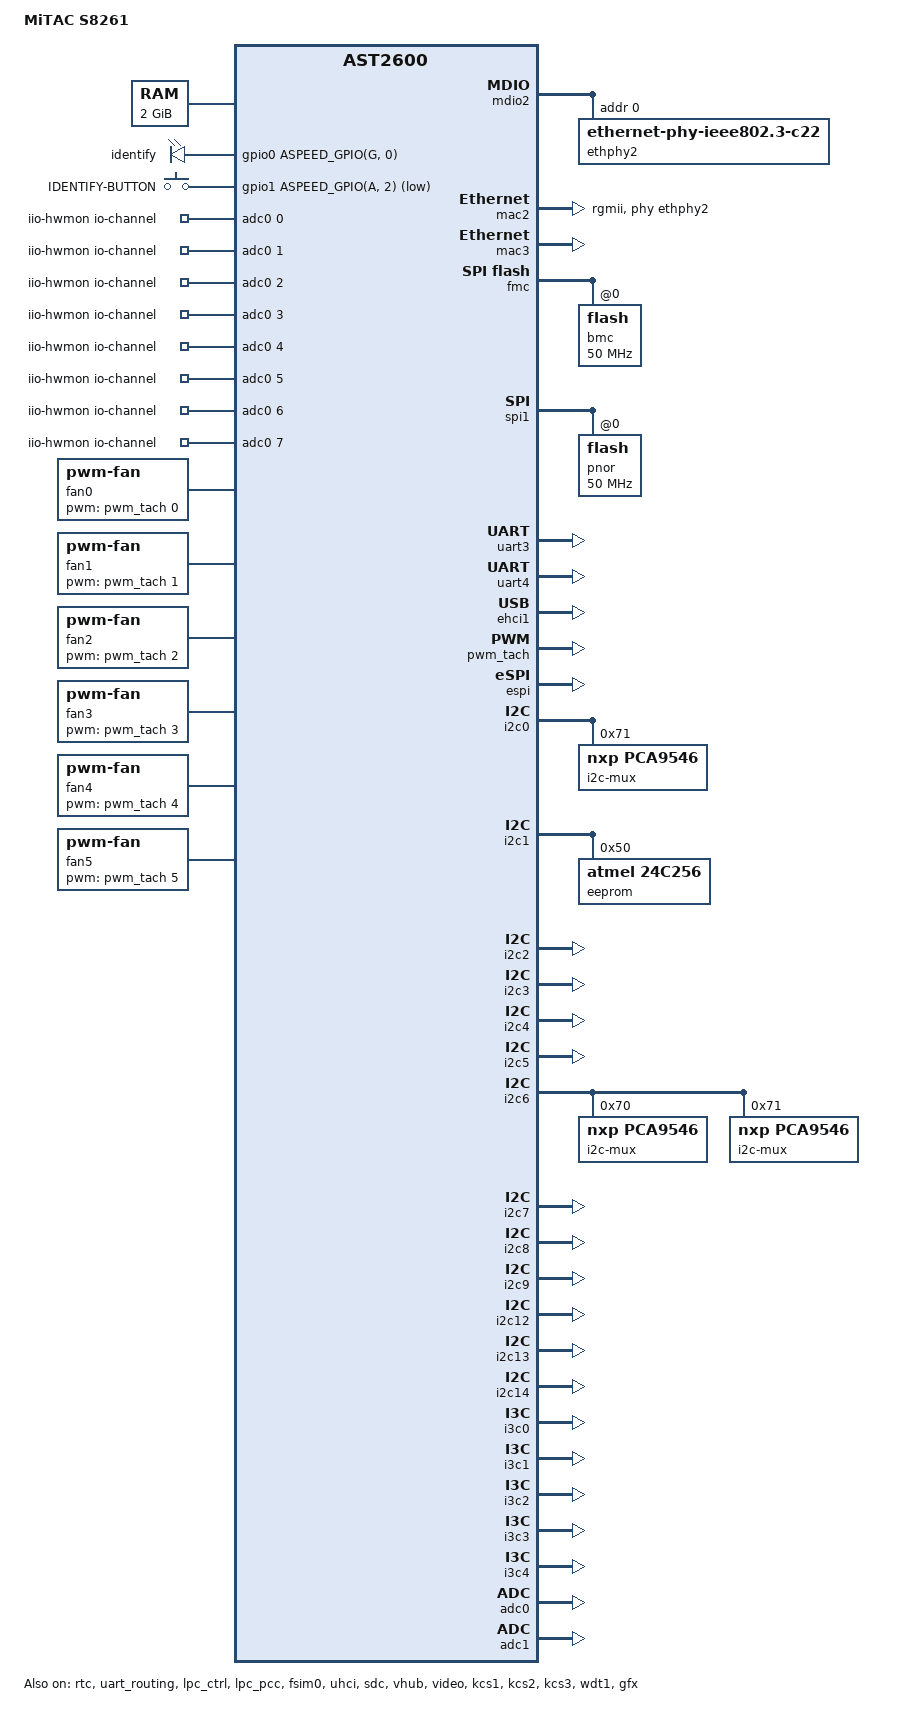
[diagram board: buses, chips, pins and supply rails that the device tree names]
// SPDX-License-Identifier: GPL-2.0-or-later
// Copyright 2019 IBM Corp.

/dts-v1/;

#include "aspeed-g6.dtsi"
#include <dt-bindings/gpio/aspeed-gpio.h>

/ {
	model = "MiTAC S8261";
	compatible = "aspeed,ast2600-evb", "aspeed,ast2600";

	aliases {
		serial4 = &uart5;
	};

	chosen {
		bootargs = "console=ttyS4,115200n8";
	};

	memory@80000000 {
		device_type = "memory";
		reg = <0x80000000 0x80000000>;
	};

	reserved-memory {
		#address-cells = <1>;
		#size-cells = <1>;
		ranges;

		video_engine_memory: video {
			size = <0x04000000>;
			alignment = <0x01000000>;
			compatible = "shared-dma-pool";
			reusable;
		};

		gfx_memory: framebuffer {
			size = <0x01000000>;
			alignment = <0x01000000>;
			compatible = "shared-dma-pool";
			reusable;
		};

		pcc_memory: pccbuffer {
                       no-map;
                       reg = <0xE0000000 0x00001000>; /* 4K */
               };
	};

        leds {
                compatible = "gpio-leds";

		/*
                bmc_heartbeat {
                        gpios = <&gpio0 ASPEED_GPIO(G, 4) GPIO_ACTIVE_LOW>;
                        default-state = "on";
                };
		*/
                identify {
                        gpios = <&gpio0 ASPEED_GPIO(G, 0) GPIO_ACTIVE_HIGH>;
                        default-state = "off";
                };
        };

        gpio-keys {
                compatible = "gpio-keys";
                event-identify-button {
                        label = "IDENTIFY-BUTTON";
                        gpios = <&gpio1 ASPEED_GPIO(A, 2) GPIO_ACTIVE_LOW>;
                        linux,code = <ASPEED_GPIO(A, 2)>;
                };
        };

        iio-hwmon {
                compatible = "iio-hwmon";
                io-channels = <&adc0 0>, <&adc0 1>, <&adc0 2>, <&adc0 3>,
                        <&adc0 4>, <&adc0 5>, <&adc0 6>, <&adc0 7>,
                        <&adc1 0>, <&adc1 1>, <&adc1 2>, <&adc1 3>,
                        <&adc1 4>, <&adc1 5>, <&adc1 6>, <&adc1 7>;
        };

        fan0: pwm-fan0 {
                compatible = "pwm-fan";
                pwms = <&pwm_tach 0 40000 0>;   /* Target freq:25 kHz */
                cooling-min-state = <0>;
                cooling-max-state = <3>;
                #cooling-cells = <2>;
                cooling-levels = <0 15 128 255>;
        };

        fan1: pwm-fan1 {
                compatible = "pwm-fan";
                pwms = <&pwm_tach 1 40000 0>;   /* Target freq:25 kHz */
                cooling-min-state = <0>;
                cooling-max-state = <3>;
                #cooling-cells = <2>;
                cooling-levels = <0 15 128 255>;
        };

        fan2: pwm-fan2 {
                compatible = "pwm-fan";
                pwms = <&pwm_tach 2 40000 0>;   /* Target freq:25 kHz */
                cooling-min-state = <0>;
                cooling-max-state = <3>;
                #cooling-cells = <2>;
                cooling-levels = <0 15 128 255>;
        };

        fan3: pwm-fan3 {
                compatible = "pwm-fan";
                pwms = <&pwm_tach 3 40000 0>;   /* Target freq:25 kHz */
                cooling-min-state = <0>;
                cooling-max-state = <3>;
                #cooling-cells = <2>;
                cooling-levels = <0 15 128 255>;
        };

        fan4: pwm-fan4 {
                compatible = "pwm-fan";
                pwms = <&pwm_tach 4 40000 0>;   /* Target freq:25 kHz */
                cooling-min-state = <0>;
                cooling-max-state = <3>;
                #cooling-cells = <2>;
                cooling-levels = <0 15 128 255>;
        };

        fan5: pwm-fan5 {
                compatible = "pwm-fan";
                pwms = <&pwm_tach 5 40000 0>;   /* Target freq:25 kHz */
                cooling-min-state = <0>;
                cooling-max-state = <3>;
                #cooling-cells = <2>;
                cooling-levels = <0 15 128 255>;
        };
};

&mdio2 {
	status = "okay";

	ethphy2: ethernet-phy@2 {
		compatible = "ethernet-phy-ieee802.3-c22";
		reg = <0>;
	};
};

&mac2 {
	status = "okay";

	phy-mode = "rgmii";
	phy-handle = <&ethphy2>;

	pinctrl-names = "default";
	pinctrl-0 = <&pinctrl_rgmii3_default>;
};

&mac3 {
        status = "okay";
        pinctrl-names = "default";
        pinctrl-0 = <&pinctrl_rmii4_default>;
	clock-names = "MACCLK", "RCLK";
        use-ncsi;
};


&rtc {
	status = "okay";
};

&fmc {
	status = "okay";
	flash@0 {
		status = "okay";
		m25p,fast-read;
		label = "bmc";
		spi-rx-bus-width = <4>;
		spi-max-frequency = <50000000>;
#include "openbmc-flash-layout-64.dtsi"
	};
};

&spi1 {
	status = "okay";
	pinctrl-names = "default";
	pinctrl-0 = <&pinctrl_spi1_default>;

	flash@0 {
		status = "okay";
		m25p,fast-read;
		label = "pnor";
		spi-rx-bus-width = <1>;
		spi-max-frequency = <50000000>;
	};
};

&uart3 {
        status = "okay";
};

&uart4 {
        status = "okay";
};

&uart5 {
	// Workaround for A0
	compatible = "snps,dw-apb-uart";
};

&uart_routing {
        status = "okay";
};

/*
&lpc_snoop {
	status = "okay";
	snoop-ports = <0x80>;
};
*/

&lpc_ctrl {
	status = "okay";
};

&lpc_pcc {
        port-addr = <0x80>;
        dma-mode;
	// It is required to be 4 bytes mode when A2600-15 is activated.
        A2600-15;
        memory-region = <&pcc_memory>;
        rec-mode = <0x1>;
        port-addr-hbits-select = <0x1>;
        port-addr-xbits = <0x3>;

        status = "okay";
};

&fsim0 {
	status = "okay";
};

&ehci1 {
	status = "okay";
};

&uhci {
	status = "okay";
};

&sdc {
	status = "okay";
};

&vhub {
	status = "okay";
	pinctrl-names = "default";
        pinctrl-0 = <&pinctrl_usb2ad_default>;
};

&video {
	status = "okay";
	memory-region = <&video_engine_memory>;
};

&kcs1 {
        kcs-io-addr = <0xca0>;
	kcs-channel = <1>;
        status = "okay";
};

&kcs2 {
        kcs-io-addr = <0xca8>;
	kcs-channel = <2>;
        status = "okay";
};

&kcs3 {
        kcs-io-addr = <0xca2>;
	kcs-channel = <3>;
        status = "okay";
};

&wdt1 {
        status = "okay";
        pinctrl-names = "default";
        pinctrl-0 = <&pinctrl_wdtrst1_default>;
        aspeed,reset-type = "soc";
        aspeed,external-signal;
        aspeed,ext-push-pull;
        aspeed,ext-active-high;
        aspeed,ext-pulse-duration = <256>;
};

/*
&wdt2 {
        status = "okay";
        pinctrl-names = "default";
        pinctrl-0 = <&pinctrl_wdtrst2_default>;
        aspeed,reset-type = "system";
};
*/

&pwm_tach {
        status = "okay";
        pinctrl-names = "default";
        pinctrl-0 = <&pinctrl_pwm0_default &pinctrl_pwm1_default
                     &pinctrl_pwm2_default &pinctrl_pwm3_default
                     &pinctrl_pwm4_default &pinctrl_pwm5_default
                     &pinctrl_pwm6_default &pinctrl_pwm7_default
                     &pinctrl_tach0_default &pinctrl_tach1_default
                     &pinctrl_tach2_default &pinctrl_tach3_default
                     &pinctrl_tach4_default &pinctrl_tach5_default
                     &pinctrl_tach6_default &pinctrl_tach7_default
                     &pinctrl_tach8_default &pinctrl_tach9_default
                     &pinctrl_tach10_default &pinctrl_tach11_default
                     &pinctrl_tach12_default &pinctrl_tach13_default
                    >;

        fan@0 {
                tach-ch = /bits/ 8 <0x00>;
        };
        fan@1 {
                tach-ch = /bits/ 8 <0x01>;
        };
        fan@2 {
                tach-ch = /bits/ 8 <0x02>;
        };
        fan@3 {
                tach-ch = /bits/ 8 <0x03>;
        };
        fan@4 {
                tach-ch = /bits/ 8 <0x04>;
        };
        fan@5 {
                tach-ch = /bits/ 8 <0x05>;
        };
        fan@6 {
                tach-ch = /bits/ 8 <0x06>;
        };
        fan@7 {
                tach-ch = /bits/ 8 <0x07>;
        };
        fan@8 {
                tach-ch = /bits/ 8 <0x08>;
        };
        fan@9 {
                tach-ch = /bits/ 8 <0x09>;
        };
        fan@10 {
                tach-ch = /bits/ 8 <0x0A>;
        };
        fan@11 {
                tach-ch = /bits/ 8 <0x0B>;
        };
        fan@12 {
                tach-ch = /bits/ 8 <0x0C>;
        };
};

&mbox {
        status = "okay";
};

&espi {
        status = "okay";
        perif-dma-mode;
        oob-dma-mode;
        flash-dma-mode;
};

&i2c0 {
	status = "okay";
	i2c-mux@71 {
		compatible = "nxp,pca9546";
		reg = <0x71>;
		#address-cells = <1>;
		#size-cells = <0>;
		i2c-mux-idle-disconnect;

		HP0: i2c@0 {
			#address-cells = <1>;
			#size-cells = <0>;
			reg = <0>;
		};

		HP0_2: i2c@1 {
			#address-cells = <1>;
			#size-cells = <0>;
			reg = <1>;
		};

		FW_BPCPLD_2: i2c@2 {
			#address-cells = <1>;
			#size-cells = <0>;
			reg = <2>;
		};

		RE_R_3: i2c@3 {
			#address-cells = <1>;
			#size-cells = <0>;
			reg = <3>;
		};
	};
};

&i2c1 {
	status = "okay";
	// MB FRU
	eeprom@50 {
		compatible = "atmel,24c256";
		reg = <0x50>;
	};

};
&i2c2 {
	status = "okay";
};
&i2c3 {
	status = "okay";
};
&i2c4 {
	status = "okay";
};
&i2c5 {
	status = "okay";
};
&i2c6 {
	status = "okay";
	i2c-mux@70 {
		compatible = "nxp,pca9546";
		reg = <0x70>;
		#address-cells = <1>;
		#size-cells = <0>;
		i2c-mux-idle-disconnect;

		SMB_PCIE_3V3SB_HHHL1: i2c@0 {
			#address-cells = <1>;
			#size-cells = <0>;
			reg = <0>;
		};

		SMB_PCIE_3V3SB_HHHL2: i2c@1 {
			#address-cells = <1>;
			#size-cells = <0>;
			reg = <1>;
		};

		IOB_X550: i2c@2 {
			#address-cells = <1>;
			#size-cells = <0>;
			reg = <2>;
		};

		IOB_RTM: i2c@3 {
			#address-cells = <1>;
			#size-cells = <0>;
			reg = <3>;
		};
	};
	i2c-mux@71 {
		compatible = "nxp,pca9546";
		reg = <0x71>;
		#address-cells = <1>;
		#size-cells = <0>;
		i2c-mux-idle-disconnect;

		SMB_PCIE_STBY_LVC3_L32: i2c@0 {
			#address-cells = <1>;
			#size-cells = <0>;
			reg = <0>;
		};

		SMB_BMC7_MUX1_PCIEX16_SLOT2: i2c@1 {
			#address-cells = <1>;
			#size-cells = <0>;
			reg = <1>;
		};

		SMB_PCIE_STBY_LVC3_R32: i2c@2 {
			#address-cells = <1>;
			#size-cells = <0>;
			reg = <2>;
		};

		SMB_BMC7_MUX1_PCIEX16_SLOT8: i2c@3 {
			#address-cells = <1>;
			#size-cells = <0>;
			reg = <3>;
		};
	};
};
&i2c7 {
	status = "okay";
};
&i2c8 {
	status = "okay";
};
&i2c9 {
	status = "okay";
};

/* M24 MDC3
&i2c10 {
	status = "okay";
};
*/

&i2c12 {
	status = "okay";
};
&i2c13 {
	status = "okay";
};
&i2c14 {
	status = "okay";
};

&i3c0 {
        status = "okay";
};

&i3c1 {
        status = "okay";
};

&i3c2 {
        status = "okay";
};

&i3c3 {
        status = "okay";
};

&i3c4 {
        status = "okay";
};

&adc0 {
        status = "okay";
        pinctrl-0 = <&pinctrl_adc0_default &pinctrl_adc1_default
                        &pinctrl_adc2_default &pinctrl_adc3_default
                        &pinctrl_adc4_default &pinctrl_adc5_default
                        &pinctrl_adc6_default &pinctrl_adc7_default>;
};

&adc1 {
        status = "okay";
        pinctrl-0 = <&pinctrl_adc8_default &pinctrl_adc9_default
			&pinctrl_adc10_default &pinctrl_adc11_default
			&pinctrl_adc12_default &pinctrl_adc13_default
			&pinctrl_adc14_default &pinctrl_adc15_default>;
};

&gpio0 {
	gpio-line-names =
	/*A0-A7*/	"gpio-a0","","","","","","","",
	/*B0-B7*/	"gpio-b0","chassis-power-good","","","","","","",
	/*C0-C7*/	"gpio-c0","","","",
			"","","","",
	/*D0-D7*/	"gpio-d0","","","",
			"","","","",
	/*E0-E7*/	"gpio-e0","","","","","","","",
	/*F0-F7*/	"gpio-f0","","",
			"","","",
			"","",
	/*G0-G7*/	"","","","",
			"","spi-mux-bios","","bmc-ready",
	/*H0-H7*/	"gpio-h0","","",
			"","","","","",
	/*I0-I7*/	"gpio-i0","","","","","","","",
	/*J0-J7*/	"gpio-j0","","","","","","","",
	/*K0-K7*/	"gpio-k0","","","","","","","",
	/*L0-L7*/	"gpio-l0","","","","","","","",
	/*M0-M7*/	"gpio-00","","","",
			"","","","",
	/*N0-N7*/	"gpio-n0","nmi-control","","",
			"","","","",
	/*O0-O7*/	"gpio-o0","","","","","","","",
	/*P0-P7*/	"reset-button","reset-control","power-button","power-control",
			"nmi-button","","","",
	/*Q0-Q7*/	"gpio-q0","","","","","","","",
	/*R0-R7*/	"gpio-r0","","","","","","","",
	/*S0-S7*/	"gpio-s0","","","",
			"","","","",
	/*T0-T7*/	"gpio-t0","","","","","","","",
	/*U0-U7*/	"gpio-u0","","","","","","","",
	/*V0-V7*/	"gpio-v0","","",
			"","","",
			"","",
	/*W0-W7*/	"gpio-w0","","","",
			"","","","",
	/*X0-X7*/	"gpio-x0","cpu0-thermtrip",
			"cpu1-thermtrip","",
			"","",
			"","",
	/*Y0-Y7*/	"gpio-y0","bios-post-complete","","","","","","",
	/*Z0-Z7*/	"gpio-z0","","","","","","","";
};

&gpio1 {
	gpio-line-names =
	/*18A0-18A7*/	"","","identify-button","",
			"","","","",
	/*18B0-18B7*/	"","","","","","","","",
	/*18C0-18C7*/	"","","","",
			"","","","",
	/*18D0-18D7*/	"","","","","","","","",
	/*18E0-18E3*/	"","","","";
};

&gfx {
	pcie-reset-detect;
	status = "okay";
	memory-region = <&gfx_memory>;
};
